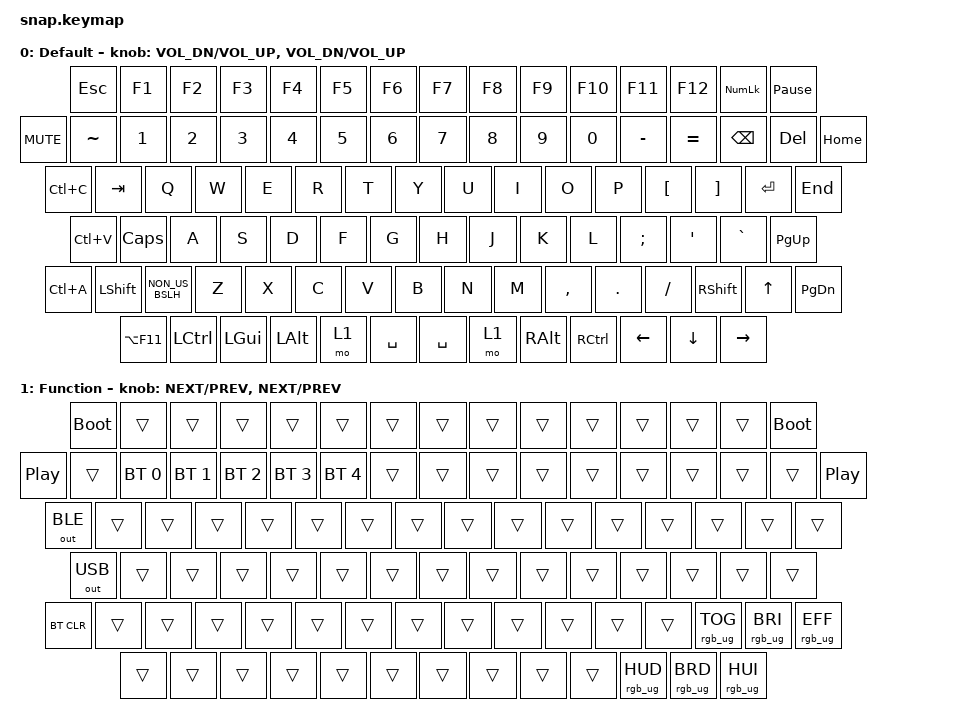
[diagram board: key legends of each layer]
/*
 * Copyright (c) 2020 The ZMK Contributors
 *
 * SPDX-License-Identifier: MIT
 */

#include <behaviors.dtsi>
#include <dt-bindings/zmk/keys.h>
#include <dt-bindings/zmk/bt.h>
#include <dt-bindings/zmk/ext_power.h>
#include <dt-bindings/zmk/outputs.h>
#include <dt-bindings/zmk/rgb.h>


&led_strip { chain-length = <34>; };

/ {
	sensors {
		compatible = "zmk,keymap-sensors";
		sensors = <&left_encoder &right_encoder>;
};


	keymap {
		compatible = "zmk,keymap";

default_layer {
			label = "Default";
			sensor-bindings = <&inc_dec_kp C_VOL_DN C_VOL_UP &inc_dec_kp C_VOL_DN C_VOL_UP>;
			bindings = <
             &kp ESC     &kp F1   &kp F2   &kp F3   &kp F4   &kp F5   &kp F6     &kp F7   &kp F8   &kp F9    &kp F10  &kp F11     &kp F12     &kp KP_NUM   &kp PAUSE_BREAK
&kp C_MUTE   &kp TILDE   &kp N1   &kp N2   &kp N3   &kp N4   &kp N5   &kp N6     &kp N7   &kp N8   &kp N9    &kp N0   &kp MINUS   &kp EQUAL   &kp BSPC    &kp DEL    &kp HOME
&kp LC(C)      &kp TAB     &kp Q    &kp W    &kp E    &kp R             &kp T      &kp Y    &kp U    &kp I     &kp O    &kp P       &kp LBKT    &kp RBKT     &kp RET     &kp END
&kp LC(V)      &kp CLCK    &kp A    &kp S    &kp D    &kp F             &kp G      &kp H    &kp J    &kp K     &kp L    &kp SEMI    &kp SQT     &kp GRAVE                &kp PG_UP
&kp LC(A)      &kp LSHFT   &kp NON_US_BSLH &kp Z    &kp X    &kp C    &kp V    &kp B      &kp N    &kp M    &kp COMMA &kp DOT  &kp FSLH    &kp RSHFT                &kp UP     &kp PG_DN
&kp LA(F11)      &kp LCTRL   &kp LGUI &kp LALT          &mo 1            &kp SPACE    &kp SPACE                   &mo 1    &kp RALT    &kp RCTRL   &kp LEFT     &kp DOWN   &kp RIGHT
			>;
		};

		function_layer {
			label = "Function";
			sensor-bindings = <&inc_dec_kp C_NEXT C_PREV &inc_dec_kp C_NEXT C_PREV>;
			bindings = <
             &bootloader &trans   &trans   &trans   &trans   &trans   &trans     &trans   &trans   &trans   &trans    &trans      &trans      &trans       &bootloader
&kp C_PP     &trans      &bt BT_SEL 0   &bt BT_SEL 1   &bt BT_SEL 2   &bt BT_SEL 3  &bt BT_SEL 4   &trans &trans   &trans   &trans   &trans    &trans      &trans      &trans       &trans     &kp C_PP
&out OUT_BLE &trans      &trans   &trans   &trans   &trans            &trans     &trans   &trans   &trans   &trans    &trans      &trans      &trans       &trans     &trans 
&out OUT_USB &trans      &trans   &trans   &trans   &trans            &trans     &trans   &trans   &trans   &trans    &trans      &trans                   &trans     &trans
&bt BT_CLR   &trans      &trans   &trans   &trans   &trans   &trans   &trans     &trans   &trans   &trans   &trans    &trans          &rgb_ug RGB_TOG &rgb_ug RGB_BRI &rgb_ug RGB_EFF
&trans       &trans      &trans   &trans            &trans           &trans       &trans                    &trans    &trans  &trans  &rgb_ug RGB_HUD &rgb_ug RGB_BRD &rgb_ug RGB_HUI
			>;
		};
	};
};
